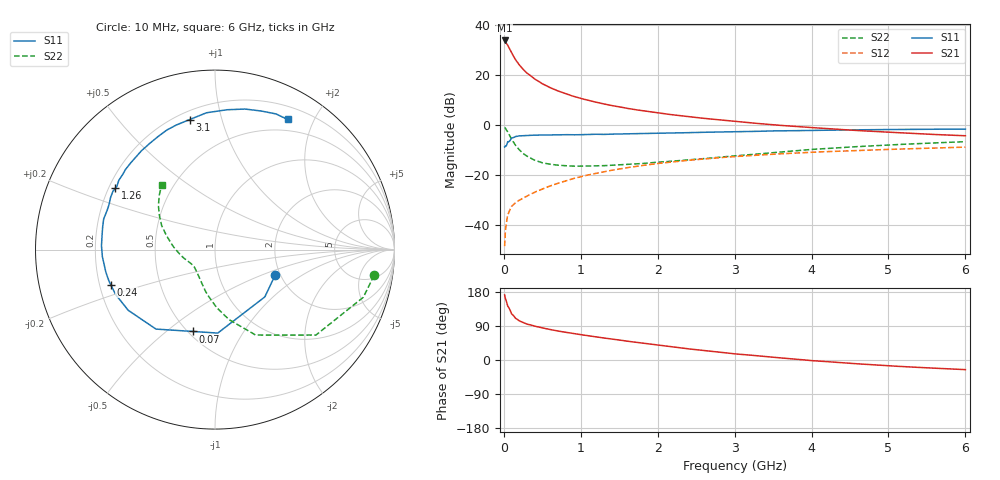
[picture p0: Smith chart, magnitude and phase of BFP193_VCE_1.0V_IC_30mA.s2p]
! Infineon Technologies  Discrete & RF Semiconductors
! BFP193
! VCE = 1.0 V,  IC =  30 mA
! Common Emitter S-Parameters:  Jan 2016
# GHz  S  MA  R  50
!  f  S11  S21  S12  S22
! GHz  MAG  ANG  MAG  ANG  MAG  ANG  MAG  ANG
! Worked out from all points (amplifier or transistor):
!   210 points, 10 MHz to 6 GHz, reference 50 ohm
!   highest |S21| = 33.8 dB at 10 MHz (marker M1)
!   |S21| within 3 dB of that: start of sweep to 68.22 MHz
!   unconditionally stable (mu >= 1): 524 MHz to 4.394 GHz
!   at 185 MHz: K = 0.63, MSG = 27.5 dB, |S12| = -30.3 dB
!   at 1.52 GHz: K = 1.10, MAG = 10.4 dB, |S12| = -17.5 dB
!   at 6 GHz: K = 0.98, MSG = 2.3 dB, |S12| = -8.8 dB
!   S11 on the Smith chart (normalised r, x): 10 MHz: 1.87, -0.62; 70 MHz: 0.53, -0.62; 240 MHz: 0.25, -0.15; 1.26 GHz: 0.23, +0.27; 3.1 GHz: 0.25, +0.79; 6 GHz: 0.35, +1.65
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0.01  0.364 -23.3  49.04 171.7  0.0038 81.0  0.898 -9.2
0.02  0.3828 -43.5  46.76 162.5  0.0075 76.7  0.8682 -17.8
0.05  0.4653 -88.1  39.45 142.6  0.0159 63.9  0.7368 -40.3
0.07  0.4723 -105.0  34.28 136.1  0.0189 58.0  0.6401 -48.1
0.1  0.5516 -126.6  27.74 122.1  0.0237 52.1  0.527 -64.6
0.15  0.5899 -145.0  20.38 110.5  0.0279 49.9  0.3976 -78.7
0.2  0.6072 -155.6  15.98 103.3  0.0315 49.3  0.3215 -88.6
0.24  0.6136 -161.5  13.56 99.6  0.0341 50.7  0.2801 -94.7
0.3  0.6209 -168.2  10.95 94.8  0.038 53.0  0.2398 -102.5
0.4  0.6288 -176.4  8.336 89.2  0.0454 55.5  0.1986 -112.6
0.5  0.6329 178.0  6.692 84.6  0.0524 57.5  0.1764 -120.2
0.6  0.6343 173.1  5.609 80.4  0.0605 58.6  0.1649 -126.0
0.7  0.639 168.2  4.831 76.5  0.0682 59.4  0.1581 -131.3
0.8  0.6433 164.6  4.233 73.2  0.0765 59.7  0.1539 -135.4
1.02  0.6432 156.2  3.346 66.3  0.0945 59.3  0.151 -142.6
1.26  0.6519 148.4  2.729 59.2  0.1138 57.6  0.1538 -149.1
1.6  0.6692 138.2  2.161 49.8  0.1404 54.1  0.1636 -156.5
2.02  0.6861 126.8  1.737 39.0  0.172 49.0  0.1815 -165.6
3.1  0.7382 101.0  1.146 14.6  0.2399 34.9  0.249 171.1
4.1  0.7848 83.6  0.87 -2.9  0.2905 22.7  0.333 154.2
5.1  0.8161 70.4  0.708 -16.4  0.3296 11.5  0.4066 140.6
6  0.8304 60.8  0.611 -25.4  0.3624 1.8  0.4656 129.7
